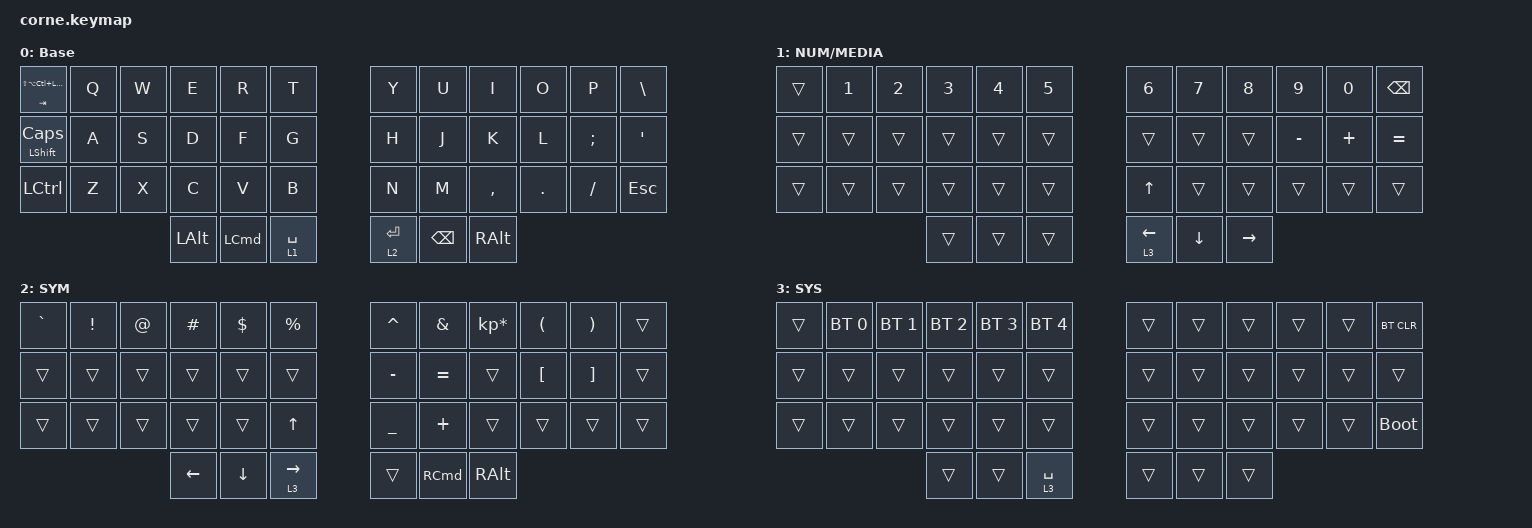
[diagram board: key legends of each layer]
/*
* Copyright (c) 2020 The ZMK Contributors
*
* SPDX-License-Identifier: MIT
*/

#include <behaviors.dtsi>
#include <dt-bindings/zmk/bt.h>
#include <dt-bindings/zmk/keys.h>

/*                KEY POSITIONS

╭────────────────────────╮ ╭────────────────────────╮
│  1   2   3   4   5   6 │ │  7   8   9  10  11  12 │
│ 13  14  15  16  17  18 │ │ 19  20  21  22  23  24 │
│ 25  26  27  28  29  30 │ │ 31  32  33  34  35  36 │
╰───────────╮ 37  38  39 │ │ 40  41  42 ╭───────────╯
            ╰────────────╯ ╰────────────╯
*/

#define BASE 0
#define NUM_MEDIA 1
#define SYMBOLS 2
#define SYSTEM 3

/ {
    behaviors {
        ht: hold_tap {
            compatible = "zmk,behavior-hold-tap";
            label = "HOLD_ESC_TAP_TAB";
            #binding-cells = <2>;
            flavor = "tap-preferred";
            tapping-term-ms = <100>;// <---[[produces tap if held longer than tapping-term-ms]]
            quick-tap-ms = <200>;// https://zmk.dev/docs/behaviors/hold-tap
            bindings = <&kp>, <&kp>;
        };

        esctabtilde: esctabtilde {
            compatible = "zmk,behavior-tap-dance";
            label = "ESCTABTILDE";
            #binding-cells = <0>;
            bindings = <&kp TAB>, <&kp GRAVE>;
        };
    };

    combos {
        compatible = "zmk,combos";

        escape {
            bindings = <&kp ESCAPE>;
            key-positions = <0 1>;
        };
    };

    keymap {
        compatible = "zmk,keymap";

        BASE {
            display-name = "Base";
            bindings = <
&mt TAB LS(LA(LC(LCMD)))  &kp Q  &kp W  &kp E     &kp R     &kp T          &kp Y      &kp U          &kp I          &kp O    &kp P     &kp BACKSLASH
&mt LEFT_SHIFT CAPSLOCK   &kp A  &kp S  &kp D     &kp F     &kp G          &kp H      &kp J          &kp K          &kp L    &kp SEMI  &kp SQT
&kp LCTRL                 &kp Z  &kp X  &kp C     &kp V     &kp B          &kp N      &kp M          &kp COMMA      &kp DOT  &kp FSLH  &kp ESC
                                        &kp LALT  &kp LCMD  &lt 1 SPACE    &lt 2 RET  &kp BACKSPACE  &kp RIGHT_ALT
            >;
        };

        NUM {
            display-name = "NUM/MEDIA";
            bindings = <
&trans  &kp N1  &kp N2  &kp N3  &kp N4  &kp N5    &kp N6      &kp N7    &kp N8     &kp N9     &kp N0    &kp BSPC
&trans  &trans  &trans  &trans  &trans  &trans    &trans      &trans    &trans     &kp MINUS  &kp PLUS  &kp EQUAL
&trans  &trans  &trans  &trans  &trans  &trans    &kp UP      &trans    &trans     &trans     &trans    &trans
                        &trans  &trans  &trans    &lt 3 LEFT  &kp DOWN  &kp RIGHT
            >;

            label = "Num";
        };

        SYMBOLS {
            display-name = "SYM";
            bindings = <
&kp GRAVE  &kp EXCL  &kp AT  &kp HASH  &kp DLLR  &kp PRCNT      &kp CARET  &kp AMPS   &kp KP_ASTERISK  &kp LPAR          &kp RPAR           &trans
&trans     &trans    &trans  &trans    &trans    &trans         &kp MINUS  &kp EQUAL  &trans           &kp LEFT_BRACKET  &kp RIGHT_BRACKET  &trans
&trans     &trans    &trans  &trans    &trans    &kp UP         &kp UNDER  &kp PLUS   &trans           &trans            &trans             &trans
                             &kp LEFT  &kp DOWN  &lt 3 RIGHT    &trans     &kp RCMD   &kp RIGHT_ALT
            >;
        };

        SYSTEM {
            display-name = "SYS";
            bindings = <
&trans  &bt BT_SEL 0  &bt BT_SEL 1  &bt BT_SEL 2  &bt BT_SEL 3  &bt BT_SEL 4    &trans  &trans  &trans  &trans  &trans  &bt BT_CLR
&trans  &trans        &trans        &trans        &trans        &trans          &trans  &trans  &trans  &trans  &trans  &trans
&trans  &trans        &trans        &trans        &trans        &trans          &trans  &trans  &trans  &trans  &trans  &bootloader
                                    &trans        &trans        &lt 3 SPACE     &trans  &trans  &trans
            >;
        };
    };
};
